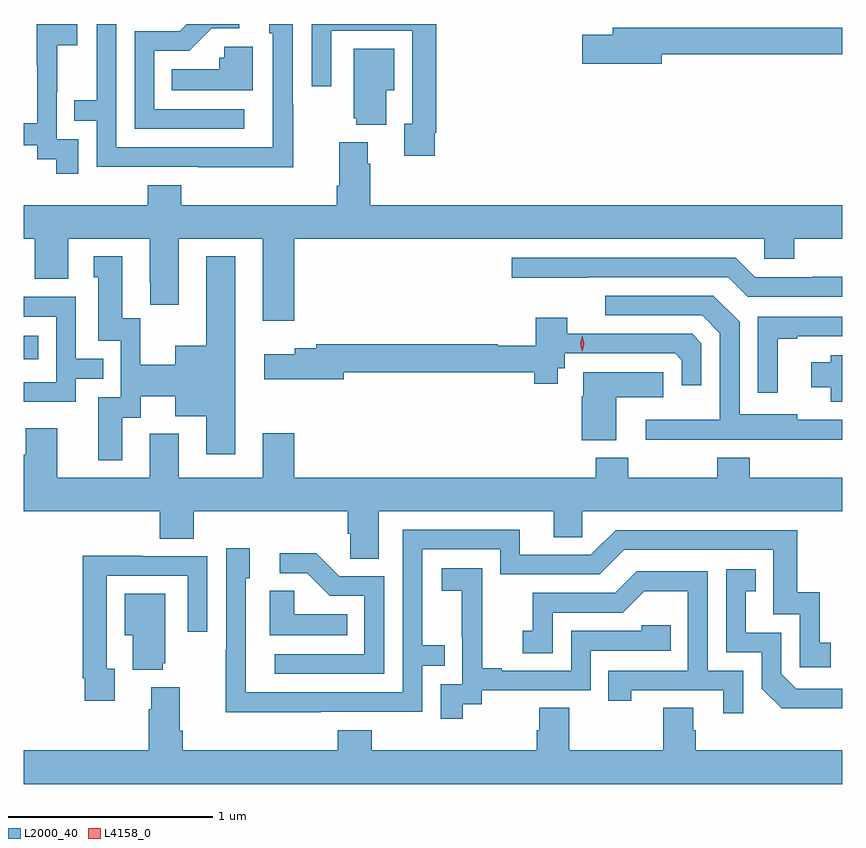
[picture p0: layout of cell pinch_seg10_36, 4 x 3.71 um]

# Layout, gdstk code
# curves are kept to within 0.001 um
import gdstk
lib = gdstk.Library(unit=1e-6, precision=1e-09)
def R(c, l, rs):  # rectangles x0, y0, x1, y1
    for r in rs: c.add(gdstk.rectangle(r[:2], r[2:], *l))
def P(c, l, *ps):  # polygons
    for p in ps: c.add(gdstk.Polygon(p, *l))
L2000_40 = (2000, 40)
L4158_0 = (4158, 0)

pinch_seg10_36 = lib.new_cell('pinch_seg10_36')
R(pinch_seg10_36, L2000_40, [(900.978,1278.416,901.048,1278.531)])
P(pinch_seg10_36, L2000_40, [(902.295,1279.661),(902.292,1279.661),(902.292,1280.054),(902.177,1280.054),(902.177,1280.01),(902.196,1280.01),(902.196,1279.676),(902.195,1279.676),(902.195,1279.452),(901.431,1279.452),(901.431,1280.054),(901.335,1280.054),(901.335,1279.682),(901.225,1279.682),(901.225,1279.581),(901.335,1279.581),(901.335,1279.356),(901.831,1279.356),(901.831,1279.355),(902.295,1279.355)],
  [(902.056,1279.638),(901.617,1279.638),(901.617,1279.923),(901.786,1279.923),(901.897,1280.034),(902.032,1280.034),(902.032,1280.054),(901.775,1280.054),(901.74,1280.019),(901.521,1280.019),(901.521,1279.542),(902.056,1279.542)],
  [(901.245,1279.491),(901.14,1279.491),(901.14,1279.721),(901.142,1279.721),(901.142,1279.949),(901.24,1279.949),(901.24,1280.054),(901.042,1280.054),(901.042,1279.853),(901.043,1279.853),(901.043,1279.57),(900.978,1279.57),(900.978,1279.461),(901.044,1279.461),(901.044,1279.393),(901.137,1279.393),(901.137,1279.323),(901.245,1279.323)],
  [(902.986,1279.522),(902.993,1279.522),(902.993,1280.054),(902.385,1280.054),(902.385,1279.749),(902.481,1279.749),(902.481,1280.022),(902.877,1280.022),(902.877,1279.566),(902.837,1279.566),(902.837,1279.41),(902.986,1279.41)],
  [(904.096,1279.906),(904.978,1279.906),(904.978,1280.035),(903.857,1280.035),(903.857,1280.001),(903.708,1280.001),(903.708,1279.859),(904.096,1279.859)],
  [(902.098,1279.942),(901.959,1279.942),(901.959,1279.89),(901.933,1279.89),(901.933,1279.834),(901.702,1279.834),(901.702,1279.73),(902.098,1279.73)],
  [(902.749,1279.73),(902.788,1279.73),(902.788,1279.933),(902.591,1279.933),(902.591,1279.593),(902.603,1279.593),(902.603,1279.562),(902.749,1279.562)],
  [(902.3,1279.004),(904.596,1279.004),(904.596,1278.906),(904.743,1278.906),(904.743,1279.004),(904.978,1279.004),(904.978,1279.168),(902.672,1279.168),(902.672,1279.37),(902.659,1279.37),(902.659,1279.477),(902.519,1279.477),(902.519,1279.264),(902.507,1279.264),(902.507,1279.168),(901.748,1279.168),(901.748,1279.267),(901.583,1279.267),(901.583,1279.168),(900.978,1279.168),(900.978,1279.004),(901.031,1279.004),(901.031,1278.81),(901.195,1278.81),(901.195,1279.004),(901.595,1279.004),(901.595,1278.793),(901.596,1278.793),(901.596,1278.681),(901.735,1278.681),(901.735,1279.004),(902.147,1279.004),(902.147,1278.603),(902.3,1278.603)],
  [(901.459,1278.13),(901.549,1278.13),(901.549,1278.236),(901.718,1278.236),(901.718,1278.137),(901.871,1278.137),(901.871,1277.952),(902.011,1277.952),(902.011,1278.919),(901.871,1278.919),(901.871,1278.481),(901.718,1278.481),(901.718,1278.388),(901.548,1278.388),(901.548,1278.615),(901.459,1278.615),(901.459,1278.919),(901.319,1278.919),(901.319,1278.816),(901.343,1278.816),(901.343,1278.507),(901.452,1278.507),(901.452,1278.231),(901.343,1278.231),(901.343,1277.922),(901.459,1277.922)],
  [(904.978,1278.818),(904.831,1278.818),(904.831,1278.816),(904.554,1278.816),(904.458,1278.912),(903.363,1278.912),(903.363,1278.815),(903.731,1278.815),(903.731,1278.816),(904.421,1278.816),(904.517,1278.72),(904.978,1278.72)],
  [(904.978,1278.12),(904.758,1278.12),(904.758,1278.148),(904.476,1278.148),(904.476,1278.598),(904.348,1278.726),(903.819,1278.726),(903.819,1278.63),(904.293,1278.63),(904.38,1278.543),(904.38,1278.121),(904.017,1278.121),(904.017,1278.023),(904.978,1278.023)],
  [(901.233,1278.321),(901.367,1278.321),(901.367,1278.417),(901.233,1278.417),(901.233,1278.72),(900.978,1278.72),(900.978,1278.624),(901.137,1278.624),(901.137,1278.303),(900.978,1278.303),(900.978,1278.207),(901.233,1278.207)],
  [(904.663,1278.516),(904.759,1278.516),(904.759,1278.528),(904.978,1278.528),(904.978,1278.624),(904.566,1278.624),(904.566,1278.252),(904.663,1278.252)],
  [(904.29,1278.495),(904.245,1278.54),(903.634,1278.54),(903.634,1278.619),(903.479,1278.619),(903.479,1278.481),(903.295,1278.481),(903.295,1278.488),(902.407,1278.488),(902.407,1278.469),(902.303,1278.469),(902.303,1278.439),(902.154,1278.439),(902.154,1278.317),(902.542,1278.317),(902.542,1278.352),(903.472,1278.352),(903.472,1278.296),(903.588,1278.296),(903.588,1278.371),(903.622,1278.371),(903.622,1278.444),(904.162,1278.444),(904.194,1278.412),(904.194,1278.288),(904.29,1278.288)],
  [(904.978,1278.436),(904.922,1278.436),(904.922,1278.4),(904.826,1278.4),(904.826,1278.278),(904.922,1278.278),(904.922,1278.209),(904.978,1278.209)],
  [(903.874,1278.23),(904.102,1278.23),(904.102,1278.352),(903.713,1278.352),(903.713,1278.234),(903.704,1278.234),(903.704,1278.02),(903.874,1278.02)],
  [(902.713,1277.672),(903.569,1277.672),(903.569,1277.545),(903.708,1277.545),(903.708,1277.672),(904.978,1277.672),(904.978,1277.836),(904.526,1277.836),(904.526,1277.935),(904.366,1277.935),(904.366,1277.836),(903.933,1277.836),(903.933,1277.935),(903.773,1277.935),(903.773,1277.836),(902.3,1277.836),(902.3,1278.055),(902.147,1278.055),(902.147,1277.836),(901.735,1277.836),(901.735,1278.052),(901.595,1278.052),(901.595,1277.836),(901.141,1277.836),(901.141,1278.079),(900.989,1278.079),(900.989,1277.949),(900.978,1277.949),(900.978,1277.672),(901.643,1277.672),(901.643,1277.539),(901.808,1277.539),(901.808,1277.672),(902.561,1277.672),(902.561,1277.563),(902.574,1277.563),(902.574,1277.44),(902.713,1277.44)],
  [(902.429,1276.692),(902.925,1276.692),(902.925,1276.917),(903.035,1276.917),(903.035,1277.018),(902.925,1277.018),(902.925,1277.487),(903.306,1277.487),(903.306,1277.364),(903.792,1277.364),(903.912,1277.484),(904.641,1277.484),(904.641,1277.169),(904.77,1277.169),(904.77,1276.911),(904.921,1276.911),(904.921,1277.031),(904.868,1277.031),(904.868,1277.278),(904.757,1277.278),(904.757,1277.58),(903.87,1277.58),(903.75,1277.46),(903.403,1277.46),(903.403,1277.583),(902.829,1277.583),(902.829,1276.788),(902.064,1276.788),(902.064,1277.346),(902.083,1277.346),(902.083,1277.491),(901.968,1277.491),(901.968,1276.997),(901.966,1276.997),(901.966,1276.691)],
  [(902.739,1277.355),(902.52,1277.355),(902.407,1277.468),(902.229,1277.468),(902.229,1277.37),(902.363,1277.37),(902.474,1277.259),(902.643,1277.259),(902.643,1276.974),(902.205,1276.974),(902.205,1276.878),(902.739,1276.878)],
  [(901.423,1276.902),(901.383,1276.902),(901.383,1277.358),(901.779,1277.358),(901.779,1277.085),(901.875,1277.085),(901.875,1277.454),(901.559,1277.454),(901.559,1277.456),(901.267,1277.456),(901.267,1276.858),(901.275,1276.858),(901.275,1276.746),(901.423,1276.746)],
  [(903.124,1276.729),(903.216,1276.729),(903.216,1276.797),(903.75,1276.797),(903.75,1276.992),(904.139,1276.992),(904.139,1277.115),(903.999,1277.115),(903.999,1277.088),(903.654,1277.088),(903.654,1276.893),(903.313,1276.893),(903.313,1276.906),(903.218,1276.906),(903.218,1277.189),(903.219,1277.189),(903.219,1277.395),(903.021,1277.395),(903.021,1277.285),(903.119,1277.285),(903.119,1277.057),(903.12,1277.057),(903.12,1276.827),(903.015,1276.827),(903.015,1276.659),(903.124,1276.659)],
  [(904.978,1276.806),(904.752,1276.806),(904.68,1276.878),(904.68,1277.079),(904.507,1277.079),(904.507,1277.283),(904.556,1277.283),(904.556,1277.389),(904.41,1277.389),(904.41,1276.983),(904.584,1276.983),(904.584,1276.806),(904.682,1276.709),(904.978,1276.709)],
  [(904.494,1276.893),(904.32,1276.893),(904.32,1277.379),(903.974,1277.379),(903.869,1277.274),(903.466,1277.274),(903.466,1277.089),(903.417,1277.089),(903.417,1276.98),(903.564,1276.98),(903.564,1277.178),(903.906,1277.178),(904.01,1277.282),(904.224,1277.282),(904.224,1276.893),(903.835,1276.893),(903.835,1276.746),(903.946,1276.746),(903.946,1276.797),(904.397,1276.797),(904.397,1276.686),(904.494,1276.686)],
  [(902.558,1277.17),(902.301,1277.17),(902.301,1277.285),(902.18,1277.285),(902.18,1277.066),(902.558,1277.066)],
  [(901.658,1276.929),(901.669,1276.929),(901.669,1277.269),(901.472,1277.269),(901.472,1277.066),(901.511,1277.066),(901.511,1276.898),(901.658,1276.898)],
  [(904.249,1276.602),(904.249,1276.712),(904.102,1276.712),(904.102,1276.504),(903.645,1276.504),(903.645,1276.712),(903.497,1276.712),(903.497,1276.602),(903.485,1276.602),(903.485,1276.504),(902.678,1276.504),(902.678,1276.603),(902.513,1276.603),(902.513,1276.504),(901.754,1276.504),(901.754,1276.6),(901.741,1276.6),(901.741,1276.813),(901.601,1276.813),(901.601,1276.706),(901.589,1276.706),(901.589,1276.504),(900.978,1276.504),(900.978,1276.34),(904.978,1276.34),(904.978,1276.504),(904.262,1276.504),(904.262,1276.602)])
P(pinch_seg10_36, L4158_0, [(903.708,1278.456),(903.708,1278.456),(903.697,1278.492),(903.707,1278.528),(903.707,1278.528),(903.707,1278.528),(903.717,1278.492),(903.708,1278.456)])

lib.write_gds('pinch_seg10_36.gds')
